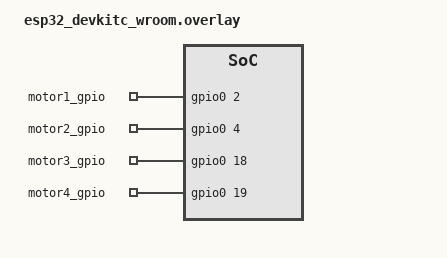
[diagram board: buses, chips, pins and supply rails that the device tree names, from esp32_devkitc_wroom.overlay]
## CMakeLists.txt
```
cmake_minimum_required(VERSION 3.20.0)
find_package(Zephyr REQUIRED)
project(esp_motor)
target_sources(app PRIVATE src/main.c)
```

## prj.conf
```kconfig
# Enable GPIO
CONFIG_GPIO=y
```

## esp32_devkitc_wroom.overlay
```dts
/ {
	mtr{
		compatible = "gpio-leds";  
		in1: in_1 {
			gpios = <&gpio0 2 GPIO_ACTIVE_HIGH>;
			label = "motor1_gpio";  
		};
		in2: in_2 {
			gpios = <&gpio0 4 GPIO_ACTIVE_HIGH>;
			label = "motor2_gpio";  
		};
		in3: in_3 {
			gpios = <&gpio0 18 GPIO_ACTIVE_HIGH>;
			label = "motor3_gpio";  
		};
		in4: in_4 {
			gpios = <&gpio0 19 GPIO_ACTIVE_HIGH>;
			label = "motor4_gpio";  
		};
	};
};
```

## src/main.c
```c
#include <zephyr/kernel.h>
#include <zephyr/device.h>
#include <zephyr/drivers/gpio.h>


/* Define motor control pins*/
#define IN1_NODE DT_NODELABEL(in1)  
#define IN2_NODE DT_NODELABEL(in2)
#define IN3_NODE DT_NODELABEL(in3)
#define IN4_NODE DT_NODELABEL(in4)

static const struct gpio_dt_spec motor1 = GPIO_DT_SPEC_GET(IN1_NODE, gpios);
static const struct gpio_dt_spec motor2 = GPIO_DT_SPEC_GET(IN2_NODE, gpios);
static const struct gpio_dt_spec motor3 = GPIO_DT_SPEC_GET(IN3_NODE, gpios);
static const struct gpio_dt_spec motor4 = GPIO_DT_SPEC_GET(IN4_NODE, gpios);


/* Function to rotate motor forward */
void fwd(const struct gpio_dt_spec *in, const struct gpio_dt_spec *in2) {
    gpio_pin_set_dt(in, 1);
    gpio_pin_set_dt(in2, 0);
}

/* Function to rotate motor backward */
void bwd(const struct gpio_dt_spec *in, const struct gpio_dt_spec *in2) {
    gpio_pin_set_dt(in, 0);
    gpio_pin_set_dt(in2, 1);
}

/* Function to stop motor */
void stp(const struct gpio_dt_spec *in, const struct gpio_dt_spec *in2) {
    gpio_pin_set_dt(in, 0);
    gpio_pin_set_dt(in2, 0);
}
void main(void) {
     /* Configuring all motor GPIO pins as outputs */

    int ret = gpio_pin_configure_dt(&motor1, GPIO_OUTPUT_ACTIVE) || gpio_pin_configure_dt(&motor2, GPIO_OUTPUT_ACTIVE) 
    || gpio_pin_configure_dt(&motor3, GPIO_OUTPUT_ACTIVE) || gpio_pin_configure_dt(&motor4, GPIO_OUTPUT_ACTIVE) ;
    if (ret < 0) {
        printk("Failed to configure motor1 GPIO\n");
        return;
    }

    while (1) {
        /* Moving both motors forward */
        fwd(&motor1, &motor2);
        fwd(&motor4, &motor3);
        k_sleep(K_MSEC(1000));

        /* Stopping both motors */
        stp(&motor1, &motor2);
        stp(&motor4, &motor3);
        k_sleep(K_MSEC(1000));

        /* Moving both motors backward */
        bwd(&motor1, &motor2);
        bwd(&motor4, &motor3);
        k_sleep(K_MSEC(1000));

        /* Stopping again */
        stp(&motor1, &motor2);
        stp(&motor4, &motor3);
        k_sleep(K_MSEC(1000));
    }
}
```
